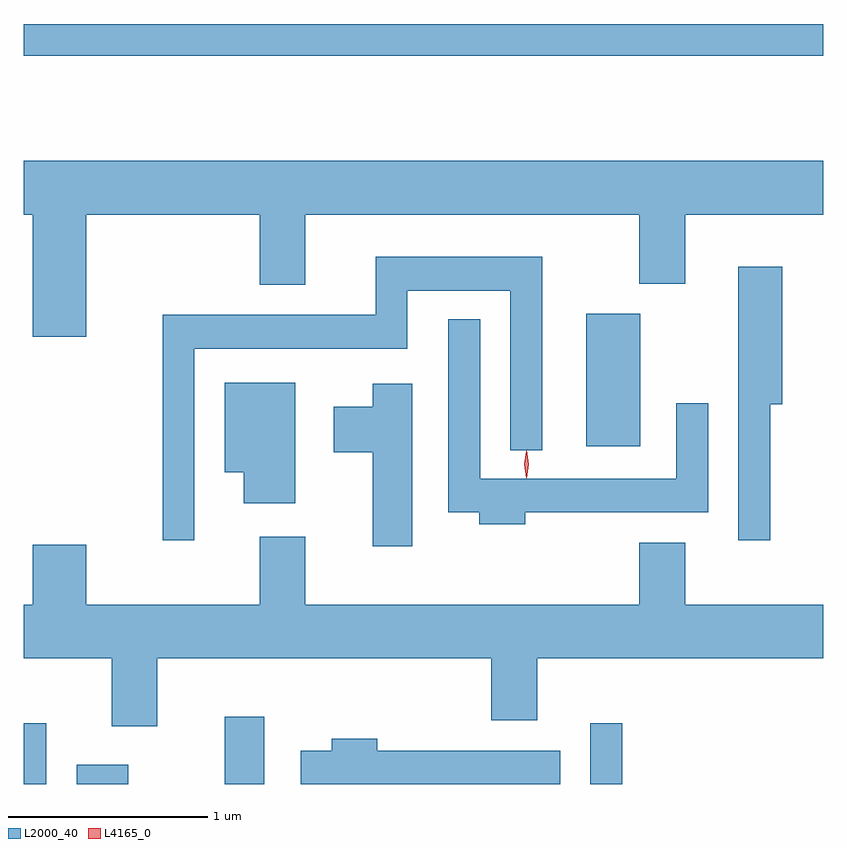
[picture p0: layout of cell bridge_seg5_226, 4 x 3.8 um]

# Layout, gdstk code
import gdstk
lib = gdstk.Library(unit=1e-6, precision=1e-09)
def R(c, l, rs):  # rectangles x0, y0, x1, y1
    for r in rs: c.add(gdstk.rectangle(r[:2], r[2:], *l))
def P(c, l, *ps):  # polygons
    for p in ps: c.add(gdstk.Polygon(p, *l))
L2000_40 = (2000, 40)
L4165_0 = (4165, 0)

bridge_seg5_226 = lib.new_cell('bridge_seg5_226')
R(bridge_seg5_226, L2000_40, [(1333.911,1431.748,1334.024,1432.053), (1334.176,1431.748,1334.434,1431.844), (1334.916,1431.748,1335.114,1432.084), (1336.746,1431.748,1336.904,1432.053), (1336.726,1433.436,1336.994,1434.099), (1333.911,1435.391,1337.911,1435.549)])
P(bridge_seg5_226, L2000_40, [(1334.224,1434.596),(1335.091,1434.596),(1335.091,1434.246),(1335.319,1434.246),(1335.319,1434.596),(1336.991,1434.596),(1336.991,1434.251),(1337.219,1434.251),(1337.219,1434.596),(1337.911,1434.596),(1337.911,1434.864),(1333.911,1434.864),(1333.911,1434.596),(1333.956,1434.596),(1333.956,1433.986),(1334.224,1433.986)],
  [(1334.764,1433.926),(1335.829,1433.926),(1335.829,1434.216),(1336.346,1434.216),(1336.346,1433.418),(1336.504,1433.418),(1336.504,1434.384),(1335.671,1434.384),(1335.671,1434.094),(1334.606,1434.094),(1334.606,1432.968),(1334.764,1432.968)],
  [(1337.644,1433.646),(1337.704,1433.646),(1337.704,1434.334),(1337.486,1434.334),(1337.486,1432.968),(1337.644,1432.968)],
  [(1336.419,1433.106),(1337.334,1433.106),(1337.334,1433.653),(1337.176,1433.653),(1337.176,1433.274),(1336.194,1433.274),(1336.194,1434.073),(1336.036,1434.073),(1336.036,1433.106),(1336.191,1433.106),(1336.191,1433.046),(1336.419,1433.046)],
  [(1335.269,1433.754),(1334.916,1433.754),(1334.916,1433.306),(1335.011,1433.306),(1335.011,1433.151),(1335.269,1433.151)],
  [(1335.854,1433.749),(1335.656,1433.749),(1335.656,1433.634),(1335.461,1433.634),(1335.461,1433.406),(1335.656,1433.406),(1335.656,1432.936),(1335.854,1432.936)],
  [(1334.579,1432.376),(1336.251,1432.376),(1336.251,1432.066),(1336.479,1432.066),(1336.479,1432.376),(1337.911,1432.376),(1337.911,1432.644),(1337.219,1432.644),(1337.219,1432.954),(1336.991,1432.954),(1336.991,1432.644),(1335.319,1432.644),(1335.319,1432.984),(1335.091,1432.984),(1335.091,1432.644),(1334.224,1432.644),(1334.224,1432.944),(1333.956,1432.944),(1333.956,1432.644),(1333.911,1432.644),(1333.911,1432.376),(1334.351,1432.376),(1334.351,1432.036),(1334.579,1432.036)],
  [(1336.594,1431.914),(1335.679,1431.914),(1335.679,1431.974),(1335.451,1431.974),(1335.451,1431.914),(1335.296,1431.914),(1335.296,1431.748),(1336.594,1431.748)])
P(bridge_seg5_226, L4165_0, [(1336.427,1433.277),(1336.427,1433.277),(1336.417,1433.347),(1336.427,1433.416),(1336.427,1433.416),(1336.428,1433.416),(1336.437,1433.347),(1336.428,1433.277)],
  [(1336.426,1433.279),(1336.426,1433.28),(1336.416,1433.346),(1336.426,1433.412),(1336.426,1433.413),(1336.426,1433.412),(1336.436,1433.346),(1336.426,1433.28)])

lib.write_gds('bridge_seg5_226.gds')
